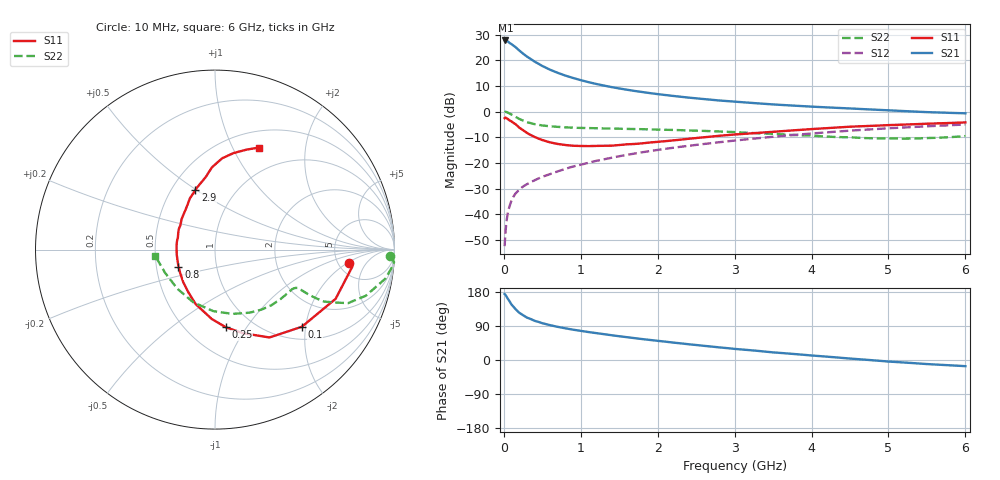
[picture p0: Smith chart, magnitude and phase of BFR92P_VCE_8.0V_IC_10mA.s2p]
! Infineon Technologies  Discrete & RF Semiconductors
! BFR92P
! VCE =  8.0 V,  IC =  10 mA
! Common Emitter S-Parameters:  Apr 2014
# GHz  S  MA  R  50
!  f  S11  S21  S12  S22
! GHz  MAG  ANG  MAG  ANG  MAG  ANG  MAG  ANG
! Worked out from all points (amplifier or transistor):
!   77 points, 10 MHz to 6 GHz, reference 50 ohm
!   highest |S21| = 27.8 dB at 20 MHz (marker M1)
!   |S21| within 3 dB of that: start of sweep to 166.9 MHz
!   unconditionally stable (mu >= 1): 733.2 MHz to 2.427 GHz
!   at 130 MHz: K = 0.38, MSG = 29.3 dB, |S12| = -32.9 dB
!   at 2.2 GHz: K = 1.02, MAG = 9.4 dB, |S12| = -14.1 dB
!   at 6 GHz: K = 0.85, MSG = 2.2 dB, |S12| = -5.0 dB
!   S11 on the Smith chart (normalised r, x): 10 MHz: 6.17, -2.16; 100 MHz: 1.29, -1.91; 250 MHz: 0.76, -0.81; 800 MHz: 0.65, -0.13; 2.9 GHz: 0.66, +0.50; 6 GHz: 0.69, +1.27
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0.01  0.7483 -5.9  24.17 174.2  0.0024 81.8  0.9783 -2.1
0.02  0.7708 -7.1  24.46 172.3  0.0042 78.2  1 -4.0
0.05  0.7259 -22.2  23.52 162.1  0.0104 81.1  0.9637 -9.6
0.1  0.6472 -41.6  20.71 146.1  0.0187 69.9  0.879 -17.0
0.15  0.5761 -58.2  18.26 134.6  0.0253 66.7  0.7998 -21.9
0.2  0.4906 -71.6  15.6 124.7  0.0303 63.9  0.724 -24.0
0.25  0.4365 -82.1  13.55 118.2  0.0349 63.5  0.672 -25.5
0.3  0.3867 -92.7  11.88 111.9  0.0387 62.1  0.6261 -25.7
0.4  0.3226 -109.4  9.456 103.4  0.0462 63.1  0.5716 -25.6
0.5  0.2803 -122.0  7.782 97.1  0.0539 64.1  0.5402 -25.2
0.6  0.2532 -134.4  6.593 92.0  0.0608 65.0  0.5197 -25.0
0.7  0.2353 -145.0  5.725 87.5  0.0688 66.3  0.507 -24.9
0.8  0.2245 -155.0  5.056 83.6  0.077 66.8  0.4962 -25.5
0.9  0.2172 -164.4  4.545 80.0  0.0856 67.1  0.4885 -26.3
1.1  0.2138 -179.1  3.769 73.8  0.1011 67.5  0.4801 -28.1
1.5  0.2243 156.0  2.841 62.7  0.1355 66.4  0.4665 -33.1
2.1  0.2669 130.0  2.115 48.4  0.1892 63.0  0.4447 -42.7
2.9  0.3493 108.2  1.613 31.4  0.2641 56.3  0.4063 -58.6
3.1  0.3682 104.3  1.532 27.6  0.2839 54.1  0.3934 -63.7
4.1  0.4686 90.7  1.235 10.4  0.3862 43.4  0.3345 -95.5
5.1  0.5543 77.7  1.047 -5.3  0.4841 30.1  0.3001 -138.3
6  0.6187 66.8  0.931 -16.3  0.5643 17.8  0.3351 -174.0
